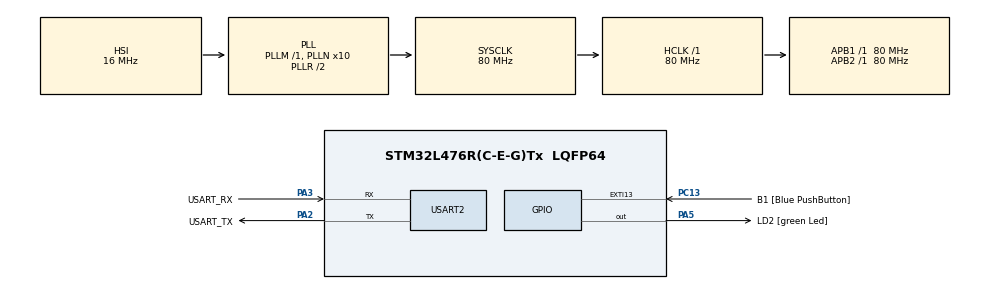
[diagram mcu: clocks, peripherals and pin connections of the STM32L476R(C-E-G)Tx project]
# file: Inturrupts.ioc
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Mcu.Family=STM32L4
Mcu.Name=STM32L476R(C-E-G)Tx
Mcu.Package=LQFP64
NVIC.EXTI15_10_IRQn=true\:0\:0\:false\:false\:true\:true\:true\:true
NVIC.PriorityGroup=NVIC_PRIORITYGROUP_4
NVIC.TIM6_DAC_IRQn=true\:0\:0\:false\:false\:true\:true\:true\:true
PA13\ (JTMS-SWDIO).GPIO_Label=TMS
PA13\ (JTMS-SWDIO).Mode=Serial_Wire
PA13\ (JTMS-SWDIO).Signal=SYS_JTMS-SWDIO
PA14\ (JTCK-SWCLK).GPIO_Label=TCK
PA14\ (JTCK-SWCLK).Mode=Serial_Wire
PA14\ (JTCK-SWCLK).Signal=SYS_JTCK-SWCLK
PA2.GPIO_Label=USART_TX
PA2.GPIO_Mode=GPIO_MODE_AF_PP
PA2.GPIO_PuPd=GPIO_NOPULL
PA2.GPIO_Speed=GPIO_SPEED_FREQ_VERY_HIGH
PA2.Mode=Asynchronous
PA2.Signal=USART2_TX
PA3.GPIO_Label=USART_RX
PA3.GPIO_Mode=GPIO_MODE_AF_PP
PA3.GPIO_PuPd=GPIO_NOPULL
PA3.GPIO_Speed=GPIO_SPEED_FREQ_VERY_HIGH
PA3.Mode=Asynchronous
PA3.Signal=USART2_RX
PA5.GPIO_Label=LD2 [green Led]
PA5.GPIO_ModeDefaultOutputPP=GPIO_MODE_OUTPUT_PP
PA5.GPIO_PuPd=GPIO_NOPULL
PA5.GPIO_Speed=GPIO_SPEED_FREQ_LOW
PA5.Signal=GPIO_Output
PB3\ (JTDO-TRACESWO).GPIO_Label=SWO
PB3\ (JTDO-TRACESWO).Signal=SYS_JTDO-SWO
PC13.GPIO_Label=B1 [Blue PushButton]
PC13.GPIO_ModeDefaultEXTI=GPIO_MODE_IT_FALLING
PC13.GPIO_PuPd=GPIO_NOPULL
PC13.Signal=GPXTI13
PC14-OSC32_IN\ (PC14).Mode=LSE-External-Oscillator
PC14-OSC32_IN\ (PC14).Signal=RCC_OSC32_IN
PC15-OSC32_OUT\ (PC15).Mode=LSE-External-Oscillator
PC15-OSC32_OUT\ (PC15).Signal=RCC_OSC32_OUT
PH0-OSC_IN\ (PH0).Signal=RCC_OSC_IN
PH1-OSC_OUT\ (PH1).Signal=RCC_OSC_OUT
ProjectManager.HeapSize=0x200
ProjectManager.StackSize=0x400
ProjectManager.TargetToolchain=STM32CubeIDE
RCC.ADCFreq_Value=64000000
RCC.AHBFreq_Value=80000000
RCC.APB1Freq_Value=80000000
RCC.APB1TimFreq_Value=80000000
RCC.APB2Freq_Value=80000000
RCC.APB2TimFreq_Value=80000000
RCC.CortexFreq_Value=80000000
RCC.HCLKFreq_Value=80000000
RCC.HSE_VALUE=8000000
RCC.HSI_VALUE=16000000
RCC.MSI_VALUE=4000000
RCC.PLLN=10
RCC.PLLSourceVirtual=RCC_PLLSOURCE_HSI
RCC.PREFETCH_ENABLE=1
RCC.SYSCLKFreq_VALUE=80000000
RCC.SYSCLKSource=RCC_SYSCLKSOURCE_PLLCLK
RCC.USBFreq_Value=64000000
RCC.VCOOutputFreq_Value=160000000
TIM6.Period=4999
TIM6.Prescaler=7999
USART2.VirtualMode-Asynchronous=VM_ASYNC
VP_TIM6_VS_ClockSourceINT.Mode=Enable_Timer
board=NUCLEO-L476RG

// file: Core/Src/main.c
/* USER CODE BEGIN Header */
/**
  ******************************************************************************
  * @file           : main.c
  * @brief          : Main program body
  ******************************************************************************
  * @attention
  *
  * Copyright (c) 2022 STMicroelectronics.
  * All rights reserved.
  *
  * This software is licensed under terms that can be found in the LICENSE file
  * in the root directory of this software component.
  * If no LICENSE file comes with this software, it is provided AS-IS.
  *
  ******************************************************************************
  */
/* USER CODE END Header */
#include "main.h"

 TIM_HandleTypeDef htim6;

UART_HandleTypeDef huart2;

void SystemClock_Config(void);
static void MX_GPIO_Init(void);
static void MX_USART2_UART_Init(void);
static void MX_TIM6_Init(void);
/* USER CODE BEGIN PFP */
#define PUTCHAR_PROTOTYPE int __io_putchar(int ch)
/* USER CODE END PFP */

/* USER CODE BEGIN 0 */

int cnt = 0;
void HAL_GPIO_EXTI_Callback(uint16_t GPIO_Pin)
{
	if(GPIO_Pin == B1_Pin){
		cnt++;
		printf("%d\n\r",cnt);
	}
}

void HAL_TIM_PeriodElapsedCallback(TIM_HandleTypeDef * htim)
{
	HAL_GPIO_TogglePin(LD2_GPIO_Port, LD2_Pin);
}

/////////////////////////////////////////////////////////////////////////
// Communication task definitions and functions
/////////////////////////////////////////////////////////////////////////

#define MAX_BUFFER_LENGTH 100

uint8_t cmdbuffer[MAX_BUFFER_LENGTH];
int cmdcount = 0;

int Communication_commTask()
{
	uint8_t ch;

	HAL_StatusTypeDef Status = HAL_UART_Receive(&huart2, &ch, 1, 0);
	if (Status != HAL_OK) {
		return 0;
	}

	if (ch != '\r' && ch != '\n')
	{
		HAL_UART_Transmit(&huart2, &ch, 1, 0xFFFF);

		if (cmdcount >= MAX_BUFFER_LENGTH)
		{
			cmdcount = 0;
		}

		cmdbuffer[cmdcount++] = ch;
		return 0;
	}

	HAL_UART_Transmit(&huart2, (uint8_t*)"\r\n", 2, 0xFFFF);

	cmdbuffer[cmdcount] = 0;
	cmdcount = 0;
	return 1;
}

void Communication_handleCommand()
{
  char cmd[20];
  int maxCount;

  int params = sscanf((const char*)cmdbuffer, "%s %d", cmd, &maxCount);

  if (params == 0)
  {
	  return;
  }

  if (strcmp(cmd, "start") == 0)
  {
	  HAL_TIM_Base_Start_IT(&htim6);
	  __HAL_TIM_SET_COUNTER(&htim6, 0);
	  __HAL_TIM_SET_AUTORELOAD(&htim6, (maxCount*10));

  }
  else if (strcmp(cmd, "stop") == 0)
  {
	  HAL_TIM_Base_Stop_IT(&htim6);
	  HAL_GPIO_WritePin(LD2_GPIO_Port, LD2_Pin, 0);
  }
  else
  {
	  printf("Invalid command\r\n");
  }
}

/* USER CODE END 0 */

int main(void)
{

  /* MCU Configuration--------------------------------------------------------*/

  /* Reset of all peripherals, Initializes the Flash interface and the Systick. */
  HAL_Init();

  /* Configure the system clock */
  SystemClock_Config();

  /* Initialize all configured peripherals */
  MX_GPIO_Init();
  MX_USART2_UART_Init();
  MX_TIM6_Init();
  /* USER CODE BEGIN 2 */

  HAL_NVIC_EnableIRQ(TIM6_IRQn);

  /* USER CODE END 2 */

  /* Infinite loop */
  while (1)
  {

    /* USER CODE BEGIN 3 */
	if (Communication_commTask()){
		Communication_handleCommand();
	}
  }
  /* USER CODE END 3 */
}

void SystemClock_Config(void)
{
  RCC_OscInitTypeDef RCC_OscInitStruct = {0};
  RCC_ClkInitTypeDef RCC_ClkInitStruct = {0};

  /** Configure the main internal regulator output voltage
  */
  if (HAL_PWREx_ControlVoltageScaling(PWR_REGULATOR_VOLTAGE_SCALE1) != HAL_OK)
  {
    Error_Handler();
  }

  /** Initializes the RCC Oscillators according to the specified parameters
  * in the RCC_OscInitTypeDef structure.
  */
  RCC_OscInitStruct.OscillatorType = RCC_OSCILLATORTYPE_HSI;
  RCC_OscInitStruct.HSIState = RCC_HSI_ON;
  RCC_OscInitStruct.HSICalibrationValue = RCC_HSICALIBRATION_DEFAULT;
  RCC_OscInitStruct.PLL.PLLState = RCC_PLL_ON;
  RCC_OscInitStruct.PLL.PLLSource = RCC_PLLSOURCE_HSI;
  RCC_OscInitStruct.PLL.PLLM = 1;
  RCC_OscInitStruct.PLL.PLLN = 10;
  RCC_OscInitStruct.PLL.PLLP = RCC_PLLP_DIV7;
  RCC_OscInitStruct.PLL.PLLQ = RCC_PLLQ_DIV2;
  RCC_OscInitStruct.PLL.PLLR = RCC_PLLR_DIV2;
  if (HAL_RCC_OscConfig(&RCC_OscInitStruct) != HAL_OK)
  {
    Error_Handler();
  }

  /** Initializes the CPU, AHB and APB buses clocks
  */
  RCC_ClkInitStruct.ClockType = RCC_CLOCKTYPE_HCLK|RCC_CLOCKTYPE_SYSCLK
                              |RCC_CLOCKTYPE_PCLK1|RCC_CLOCKTYPE_PCLK2;
  RCC_ClkInitStruct.SYSCLKSource = RCC_SYSCLKSOURCE_PLLCLK;
  RCC_ClkInitStruct.AHBCLKDivider = RCC_SYSCLK_DIV1;
  RCC_ClkInitStruct.APB1CLKDivider = RCC_HCLK_DIV1;
  RCC_ClkInitStruct.APB2CLKDivider = RCC_HCLK_DIV1;

  if (HAL_RCC_ClockConfig(&RCC_ClkInitStruct, FLASH_LATENCY_4) != HAL_OK)
  {
    Error_Handler();
  }
}

static void MX_TIM6_Init(void)
{

  TIM_MasterConfigTypeDef sMasterConfig = {0};

  htim6.Instance = TIM6;
  htim6.Init.Prescaler = 7999;
  htim6.Init.CounterMode = TIM_COUNTERMODE_UP;
  htim6.Init.Period = 4999;
  htim6.Init.AutoReloadPreload = TIM_AUTORELOAD_PRELOAD_DISABLE;
  if (HAL_TIM_Base_Init(&htim6) != HAL_OK)
  {
    Error_Handler();
  }
  sMasterConfig.MasterOutputTrigger = TIM_TRGO_RESET;
  sMasterConfig.MasterSlaveMode = TIM_MASTERSLAVEMODE_DISABLE;
  if (HAL_TIMEx_MasterConfigSynchronization(&htim6, &sMasterConfig) != HAL_OK)
  {
    Error_Handler();
  }

}

static void MX_USART2_UART_Init(void)
{

  huart2.Instance = USART2;
  huart2.Init.BaudRate = 115200;
  huart2.Init.WordLength = UART_WORDLENGTH_8B;
  huart2.Init.StopBits = UART_STOPBITS_1;
  huart2.Init.Parity = UART_PARITY_NONE;
  huart2.Init.Mode = UART_MODE_TX_RX;
  huart2.Init.HwFlowCtl = UART_HWCONTROL_NONE;
  huart2.Init.OverSampling = UART_OVERSAMPLING_16;
  huart2.Init.OneBitSampling = UART_ONE_BIT_SAMPLE_DISABLE;
  huart2.AdvancedInit.AdvFeatureInit = UART_ADVFEATURE_NO_INIT;
  if (HAL_UART_Init(&huart2) != HAL_OK)
  {
    Error_Handler();
  }

}

static void MX_GPIO_Init(void)
{
  GPIO_InitTypeDef GPIO_InitStruct = {0};

  /* GPIO Ports Clock Enable */
  __HAL_RCC_GPIOC_CLK_ENABLE();
  __HAL_RCC_GPIOH_CLK_ENABLE();
  __HAL_RCC_GPIOA_CLK_ENABLE();
  __HAL_RCC_GPIOB_CLK_ENABLE();

  /*Configure GPIO pin Output Level */
  HAL_GPIO_WritePin(LD2_GPIO_Port, LD2_Pin, GPIO_PIN_RESET);

  /*Configure GPIO pin : B1_Pin */
  GPIO_InitStruct.Pin = B1_Pin;
  GPIO_InitStruct.Mode = GPIO_MODE_IT_FALLING;
  GPIO_InitStruct.Pull = GPIO_NOPULL;
  HAL_GPIO_Init(B1_GPIO_Port, &GPIO_InitStruct);

  /*Configure GPIO pin : LD2_Pin */
  GPIO_InitStruct.Pin = LD2_Pin;
  GPIO_InitStruct.Mode = GPIO_MODE_OUTPUT_PP;
  GPIO_InitStruct.Pull = GPIO_NOPULL;
  GPIO_InitStruct.Speed = GPIO_SPEED_FREQ_LOW;
  HAL_GPIO_Init(LD2_GPIO_Port, &GPIO_InitStruct);

  /* EXTI interrupt init*/
  HAL_NVIC_SetPriority(EXTI15_10_IRQn, 0, 0);
  HAL_NVIC_EnableIRQ(EXTI15_10_IRQn);

}

/* USER CODE BEGIN 4 */
PUTCHAR_PROTOTYPE
{
  /* Place your implementation of fputc here */
  /* e.g. write a character to the USART1 and Loop until the end of transmission */
  HAL_UART_Transmit(&huart2, (uint8_t *)&ch, 1, 0xFFFF);

  return ch;
}
/* USER CODE END 4 */

void Error_Handler(void)
{
  __disable_irq();
  while (1)
  {
  }
}
